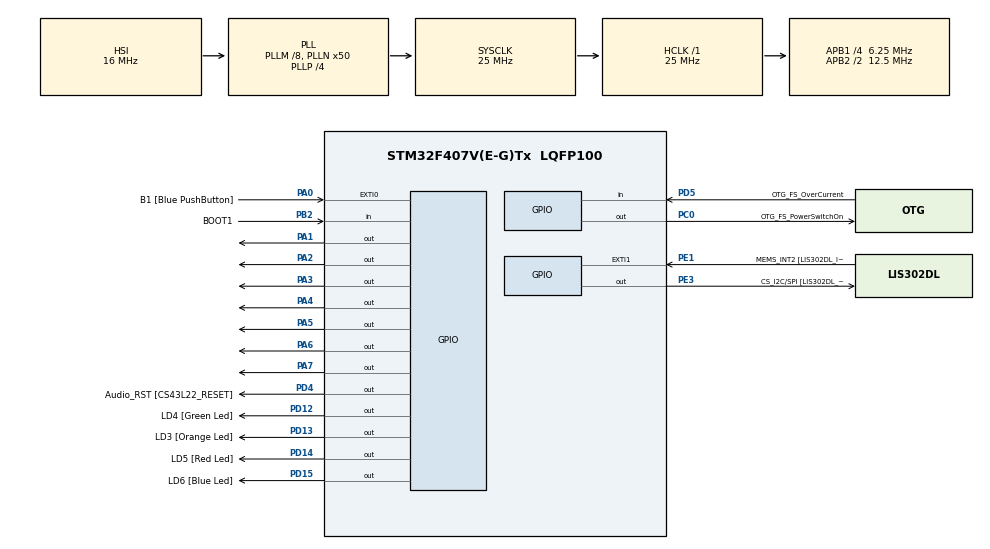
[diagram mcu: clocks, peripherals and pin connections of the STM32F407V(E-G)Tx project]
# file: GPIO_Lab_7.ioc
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Mcu.Family=STM32F4
Mcu.Name=STM32F407V(E-G)Tx
Mcu.Package=LQFP100
NVIC.PriorityGroup=NVIC_PRIORITYGROUP_0
PA0-WKUP.GPIO_Label=B1 [Blue PushButton]
PA0-WKUP.Signal=GPXTI0
PA1.GPIO_ModeDefaultOutputPP=GPIO_MODE_OUTPUT_PP
PA1.GPIO_PuPd=GPIO_PULLDOWN
PA1.GPIO_Speed=GPIO_SPEED_FREQ_LOW
PA1.PinState=GPIO_PIN_RESET
PA1.Signal=GPIO_Output
PA10.GPIO_Label=OTG_FS_ID
PA10.GPIO_Mode=GPIO_MODE_AF_PP
PA10.GPIO_PuPd=GPIO_NOPULL
PA10.GPIO_Speed=GPIO_SPEED_FREQ_LOW
PA10.Signal=USB_OTG_FS_ID
PA11.GPIO_Label=OTG_FS_DM
PA11.GPIO_Mode=GPIO_MODE_AF_PP
PA11.GPIO_PuPd=GPIO_NOPULL
PA11.GPIO_Speed=GPIO_SPEED_FREQ_LOW
PA11.Signal=USB_OTG_FS_DM
PA12.GPIO_Label=OTG_FS_DP
PA12.GPIO_Mode=GPIO_MODE_AF_PP
PA12.GPIO_PuPd=GPIO_NOPULL
PA12.GPIO_Speed=GPIO_SPEED_FREQ_LOW
PA12.Signal=USB_OTG_FS_DP
PA13.GPIO_Label=SWDIO
PA13.Mode=Serial_Wire
PA13.Signal=SYS_JTMS-SWDIO
PA14.GPIO_Label=SWCLK
PA14.Mode=Serial_Wire
PA14.Signal=SYS_JTCK-SWCLK
PA2.GPIO_ModeDefaultOutputPP=GPIO_MODE_OUTPUT_PP
PA2.GPIO_PuPd=GPIO_PULLDOWN
PA2.GPIO_Speed=GPIO_SPEED_FREQ_LOW
PA2.PinState=GPIO_PIN_RESET
PA2.Signal=GPIO_Output
PA3.GPIO_ModeDefaultOutputPP=GPIO_MODE_OUTPUT_PP
PA3.GPIO_PuPd=GPIO_PULLDOWN
PA3.GPIO_Speed=GPIO_SPEED_FREQ_LOW
PA3.PinState=GPIO_PIN_RESET
PA3.Signal=GPIO_Output
PA4.GPIO_ModeDefaultOutputPP=GPIO_MODE_OUTPUT_PP
PA4.GPIO_PuPd=GPIO_PULLDOWN
PA4.GPIO_Speed=GPIO_SPEED_FREQ_LOW
PA4.PinState=GPIO_PIN_RESET
PA4.Signal=GPIO_Output
PA5.GPIO_ModeDefaultOutputPP=GPIO_MODE_OUTPUT_PP
PA5.GPIO_PuPd=GPIO_PULLDOWN
PA5.GPIO_Speed=GPIO_SPEED_FREQ_LOW
PA5.PinState=GPIO_PIN_RESET
PA5.Signal=GPIO_Output
PA6.GPIO_ModeDefaultOutputPP=GPIO_MODE_OUTPUT_PP
PA6.GPIO_PuPd=GPIO_PULLDOWN
PA6.GPIO_Speed=GPIO_SPEED_FREQ_LOW
PA6.PinState=GPIO_PIN_RESET
PA6.Signal=GPIO_Output
PA7.GPIO_ModeDefaultOutputPP=GPIO_MODE_OUTPUT_PP
PA7.GPIO_PuPd=GPIO_PULLDOWN
PA7.GPIO_Speed=GPIO_SPEED_FREQ_LOW
PA7.PinState=GPIO_PIN_RESET
PA7.Signal=GPIO_Output
PA9.GPIO_Label=VBUS_FS
PA9.GPIO_Mode=GPIO_MODE_INPUT
PA9.GPIO_PuPd=GPIO_NOPULL
PA9.Signal=USB_OTG_FS_VBUS
PB10.GPIO_Label=CLK_IN [MP45DT02_CLK]
PB10.GPIO_Mode=GPIO_MODE_AF_PP
PB10.GPIO_PuPd=GPIO_NOPULL
PB10.GPIO_Speed=GPIO_SPEED_FREQ_LOW
PB10.Signal=I2S2_CK
PB2.GPIO_Label=BOOT1
PB2.GPIO_Mode=GPIO_MODE_INPUT
PB2.GPIO_PuPd=GPIO_NOPULL
PB2.Signal=GPIO_Input
PB3.GPIO_Label=SWO
PB3.Signal=SYS_JTDO-SWO
PB6.GPIO_Label=Audio_SCL [CS43L22_SCL]
PB6.GPIO_Mode=GPIO_MODE_AF_OD
PB6.GPIO_PuPd=GPIO_NOPULL
PB6.GPIO_Speed=GPIO_SPEED_FREQ_LOW
PB6.Signal=I2C1_SCL
PB9.GPIO_Label=Audio_SDA [CS43L22_SDA]
PB9.GPIO_Mode=GPIO_MODE_AF_OD
PB9.GPIO_PuPd=GPIO_NOPULL
PB9.GPIO_Speed=GPIO_SPEED_FREQ_LOW
PB9.Signal=I2C1_SDA
PC0.GPIO_Label=OTG_FS_PowerSwitchOn
PC0.GPIO_PuPd=GPIO_NOPULL
PC0.GPIO_Speed=GPIO_SPEED_FREQ_LOW
PC0.PinState=GPIO_PIN_SET
PC0.Signal=GPIO_Output
PC10.GPIO_Label=I2S3_SCK [CS43L22_SCLK]
PC10.GPIO_Mode=GPIO_MODE_AF_PP
PC10.GPIO_PuPd=GPIO_NOPULL
PC10.GPIO_Speed=GPIO_SPEED_FREQ_LOW
PC10.Signal=I2S3_CK
PC12.GPIO_Label=I2S3_SD [CS43L22_SDIN]
PC12.GPIO_Mode=GPIO_MODE_AF_PP
PC12.GPIO_PuPd=GPIO_NOPULL
PC12.GPIO_Speed=GPIO_SPEED_FREQ_LOW
PC12.Signal=I2S3_SD
PC14-OSC32_IN.GPIO_Label=PC14-OSC32_IN
PC14-OSC32_IN.Signal=RCC_OSC32_IN
PC15-OSC32_OUT.GPIO_Label=PC15-OSC32_OUT
PC15-OSC32_OUT.Signal=RCC_OSC32_OUT
PC3.GPIO_Label=PDM_OUT [MP45DT02_DOUT]
PC3.GPIO_Mode=GPIO_MODE_AF_PP
PC3.GPIO_PuPd=GPIO_NOPULL
PC3.GPIO_Speed=GPIO_SPEED_FREQ_LOW
PC3.Signal=I2S2_SD
PC7.GPIO_Label=I2S3_MCK [CS43L22_MCLK]
PC7.GPIO_Mode=GPIO_MODE_AF_PP
PC7.GPIO_PuPd=GPIO_NOPULL
PC7.GPIO_Speed=GPIO_SPEED_FREQ_LOW
PC7.Signal=I2S3_MCK
PD12.GPIO_Label=LD4 [Green Led]
PD12.GPIO_PuPd=GPIO_NOPULL
PD12.GPIO_Speed=GPIO_SPEED_FREQ_LOW
PD12.Signal=GPIO_Output
PD13.GPIO_Label=LD3 [Orange Led]
PD13.GPIO_PuPd=GPIO_NOPULL
PD13.GPIO_Speed=GPIO_SPEED_FREQ_LOW
PD13.Signal=GPIO_Output
PD14.GPIO_Label=LD5 [Red Led]
PD14.GPIO_PuPd=GPIO_NOPULL
PD14.GPIO_Speed=GPIO_SPEED_FREQ_LOW
PD14.Signal=GPIO_Output
PD15.GPIO_Label=LD6 [Blue Led]
PD15.GPIO_PuPd=GPIO_NOPULL
PD15.GPIO_Speed=GPIO_SPEED_FREQ_LOW
PD15.Signal=GPIO_Output
PD4.GPIO_Label=Audio_RST [CS43L22_RESET]
PD4.GPIO_PuPd=GPIO_NOPULL
PD4.GPIO_Speed=GPIO_SPEED_FREQ_LOW
PD4.Signal=GPIO_Output
PD5.GPIO_Label=OTG_FS_OverCurrent
PD5.GPIO_Mode=GPIO_MODE_INPUT
PD5.GPIO_PuPd=GPIO_NOPULL
PD5.Signal=GPIO_Input
PE1.GPIO_Label=MEMS_INT2 [LIS302DL_INT2]
PE1.GPIO_ModeDefaultEXTI=GPIO_MODE_EVT_RISING
PE1.GPIO_PuPd=GPIO_NOPULL
PE1.Signal=GPXTI1
PE3.GPIO_Label=CS_I2C/SPI [LIS302DL_CS_I2C/SPI]
PE3.GPIO_PuPd=GPIO_NOPULL
PE3.GPIO_Speed=GPIO_SPEED_FREQ_LOW
PE3.Signal=GPIO_Output
PH0-OSC_IN.GPIO_Label=PH0-OSC_IN
PH0-OSC_IN.Mode=HSE-External-Oscillator
PH0-OSC_IN.Signal=RCC_OSC_IN
PH1-OSC_OUT.GPIO_Label=PH1-OSC_OUT
PH1-OSC_OUT.Mode=HSE-External-Oscillator
PH1-OSC_OUT.Signal=RCC_OSC_OUT
ProjectManager.HeapSize=0x200
ProjectManager.StackSize=0x400
ProjectManager.TargetToolchain=STM32CubeIDE
RCC.48MHZClocksFreq_Value=14285714.285714285
RCC.AHBFreq_Value=25000000
RCC.APB1CLKDivider=RCC_HCLK_DIV4
RCC.APB1Freq_Value=6250000
RCC.APB1TimFreq_Value=12500000
RCC.APB2CLKDivider=RCC_HCLK_DIV2
RCC.APB2Freq_Value=12500000
RCC.APB2TimFreq_Value=25000000
RCC.CortexFreq_Value=25000000
RCC.HCLKFreq_Value=25000000
RCC.HSE_VALUE=8000000
RCC.HSI_VALUE=16000000
RCC.LSE_VALUE=32768
RCC.PLLM=8
RCC.PLLN=50
RCC.PLLP=RCC_PLLP_DIV4
RCC.PLLQ=7
RCC.SYSCLKFreq_VALUE=25000000
RCC.SYSCLKSource=RCC_SYSCLKSOURCE_PLLCLK
RCC.VCOOutputFreq_Value=100000000
board=STM32F407G-DISC1

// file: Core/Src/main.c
 /* USER CODE BEGIN Header */
/**
  ******************************************************************************
  * @file           : main.c
  * @brief          : Main program body
  ******************************************************************************
  * @attention
  *
  * Copyright (c) 2023 STMicroelectronics.
  * All rights reserved.
  *
  * This software is licensed under terms that can be found in the LICENSE file
  * in the root directory of this software component.
  * If no LICENSE file comes with this software, it is provided AS-IS.
  *
  ******************************************************************************
  */
/* USER CODE END Header */
#include "main.h"

void SystemClock_Config(void);
static void MX_GPIO_Init(void);

/* USER CODE BEGIN PFP */
void write_led_7_segment(__IO uint8_t number);
/* USER CODE END PFP */

int main(void)
{

  /* MCU Configuration--------------------------------------------------------*/

  /* Reset of all peripherals, Initializes the Flash interface and the Systick. */
  HAL_Init();

  /* Configure the system clock */
  SystemClock_Config();

  /* Initialize all configured peripherals */
  MX_GPIO_Init();

  /* Infinite loop */
  /* USER CODE BEGIN WHILE */
  while (1)
  {
	  for (int i=0; i<10; i++){
		  write_led_7_segment(i);
		  HAL_Delay(1000);
	  }
    /* USER CODE END WHILE */

  }
}

void SystemClock_Config(void)
{
  RCC_OscInitTypeDef RCC_OscInitStruct = {0};
  RCC_ClkInitTypeDef RCC_ClkInitStruct = {0};

  /** Configure the main internal regulator output voltage
  */
  __HAL_RCC_PWR_CLK_ENABLE();
  __HAL_PWR_VOLTAGESCALING_CONFIG(PWR_REGULATOR_VOLTAGE_SCALE1);

  /** Initializes the RCC Oscillators according to the specified parameters
  * in the RCC_OscInitTypeDef structure.
  */
  RCC_OscInitStruct.OscillatorType = RCC_OSCILLATORTYPE_HSI;
  RCC_OscInitStruct.HSIState = RCC_HSI_ON;
  RCC_OscInitStruct.HSICalibrationValue = RCC_HSICALIBRATION_DEFAULT;
  RCC_OscInitStruct.PLL.PLLState = RCC_PLL_ON;
  RCC_OscInitStruct.PLL.PLLSource = RCC_PLLSOURCE_HSI;
  RCC_OscInitStruct.PLL.PLLM = 8;
  RCC_OscInitStruct.PLL.PLLN = 50;
  RCC_OscInitStruct.PLL.PLLP = RCC_PLLP_DIV4;
  RCC_OscInitStruct.PLL.PLLQ = 7;
  if (HAL_RCC_OscConfig(&RCC_OscInitStruct) != HAL_OK)
  {
    Error_Handler();
  }

  /** Initializes the CPU, AHB and APB buses clocks
  */
  RCC_ClkInitStruct.ClockType = RCC_CLOCKTYPE_HCLK|RCC_CLOCKTYPE_SYSCLK
                              |RCC_CLOCKTYPE_PCLK1|RCC_CLOCKTYPE_PCLK2;
  RCC_ClkInitStruct.SYSCLKSource = RCC_SYSCLKSOURCE_PLLCLK;
  RCC_ClkInitStruct.AHBCLKDivider = RCC_SYSCLK_DIV1;
  RCC_ClkInitStruct.APB1CLKDivider = RCC_HCLK_DIV4;
  RCC_ClkInitStruct.APB2CLKDivider = RCC_HCLK_DIV2;

  if (HAL_RCC_ClockConfig(&RCC_ClkInitStruct, FLASH_LATENCY_0) != HAL_OK)
  {
    Error_Handler();
  }
}

static void MX_GPIO_Init(void)
{
  GPIO_InitTypeDef GPIO_InitStruct = {0};

  /* GPIO Ports Clock Enable */
  __HAL_RCC_GPIOE_CLK_ENABLE();
  __HAL_RCC_GPIOC_CLK_ENABLE();
  __HAL_RCC_GPIOH_CLK_ENABLE();
  __HAL_RCC_GPIOA_CLK_ENABLE();
  __HAL_RCC_GPIOB_CLK_ENABLE();
  __HAL_RCC_GPIOD_CLK_ENABLE();

  /*Configure GPIO pin Output Level */
  HAL_GPIO_WritePin(CS_I2C_SPI_GPIO_Port, CS_I2C_SPI_Pin, GPIO_PIN_RESET);

  /*Configure GPIO pin Output Level */
  HAL_GPIO_WritePin(OTG_FS_PowerSwitchOn_GPIO_Port, OTG_FS_PowerSwitchOn_Pin, GPIO_PIN_SET);

  /*Configure GPIO pin Output Level */
  HAL_GPIO_WritePin(GPIOA, GPIO_PIN_1|GPIO_PIN_2|GPIO_PIN_3|GPIO_PIN_4
                          |GPIO_PIN_5|GPIO_PIN_6|GPIO_PIN_7, GPIO_PIN_RESET);

  /*Configure GPIO pin Output Level */
  HAL_GPIO_WritePin(GPIOD, LD4_Pin|LD3_Pin|LD5_Pin|LD6_Pin
                          |Audio_RST_Pin, GPIO_PIN_RESET);

  /*Configure GPIO pin : CS_I2C_SPI_Pin */
  GPIO_InitStruct.Pin = CS_I2C_SPI_Pin;
  GPIO_InitStruct.Mode = GPIO_MODE_OUTPUT_PP;
  GPIO_InitStruct.Pull = GPIO_NOPULL;
  GPIO_InitStruct.Speed = GPIO_SPEED_FREQ_LOW;
  HAL_GPIO_Init(CS_I2C_SPI_GPIO_Port, &GPIO_InitStruct);

  /*Configure GPIO pin : OTG_FS_PowerSwitchOn_Pin */
  GPIO_InitStruct.Pin = OTG_FS_PowerSwitchOn_Pin;
  GPIO_InitStruct.Mode = GPIO_MODE_OUTPUT_PP;
  GPIO_InitStruct.Pull = GPIO_NOPULL;
  GPIO_InitStruct.Speed = GPIO_SPEED_FREQ_LOW;
  HAL_GPIO_Init(OTG_FS_PowerSwitchOn_GPIO_Port, &GPIO_InitStruct);

  /*Configure GPIO pin : PDM_OUT_Pin */
  GPIO_InitStruct.Pin = PDM_OUT_Pin;
  GPIO_InitStruct.Mode = GPIO_MODE_AF_PP;
  GPIO_InitStruct.Pull = GPIO_NOPULL;
  GPIO_InitStruct.Speed = GPIO_SPEED_FREQ_LOW;
  GPIO_InitStruct.Alternate = GPIO_AF5_SPI2;
  HAL_GPIO_Init(PDM_OUT_GPIO_Port, &GPIO_InitStruct);

  /*Configure GPIO pin : B1_Pin */
  GPIO_InitStruct.Pin = B1_Pin;
  GPIO_InitStruct.Mode = GPIO_MODE_IT_RISING;
  GPIO_InitStruct.Pull = GPIO_NOPULL;
  HAL_GPIO_Init(B1_GPIO_Port, &GPIO_InitStruct);

  /*Configure GPIO pins : PA1 PA2 PA3 PA4
                           PA5 PA6 PA7 */
  GPIO_InitStruct.Pin = GPIO_PIN_1|GPIO_PIN_2|GPIO_PIN_3|GPIO_PIN_4
                          |GPIO_PIN_5|GPIO_PIN_6|GPIO_PIN_7;
  GPIO_InitStruct.Mode = GPIO_MODE_OUTPUT_PP;
  GPIO_InitStruct.Pull = GPIO_PULLDOWN;
  GPIO_InitStruct.Speed = GPIO_SPEED_FREQ_LOW;
  HAL_GPIO_Init(GPIOA, &GPIO_InitStruct);

  /*Configure GPIO pin : BOOT1_Pin */
  GPIO_InitStruct.Pin = BOOT1_Pin;
  GPIO_InitStruct.Mode = GPIO_MODE_INPUT;
  GPIO_InitStruct.Pull = GPIO_NOPULL;
  HAL_GPIO_Init(BOOT1_GPIO_Port, &GPIO_InitStruct);

  /*Configure GPIO pin : CLK_IN_Pin */
  GPIO_InitStruct.Pin = CLK_IN_Pin;
  GPIO_InitStruct.Mode = GPIO_MODE_AF_PP;
  GPIO_InitStruct.Pull = GPIO_NOPULL;
  GPIO_InitStruct.Speed = GPIO_SPEED_FREQ_LOW;
  GPIO_InitStruct.Alternate = GPIO_AF5_SPI2;
  HAL_GPIO_Init(CLK_IN_GPIO_Port, &GPIO_InitStruct);

  /*Configure GPIO pins : LD4_Pin LD3_Pin LD5_Pin LD6_Pin
                           Audio_RST_Pin */
  GPIO_InitStruct.Pin = LD4_Pin|LD3_Pin|LD5_Pin|LD6_Pin
                          |Audio_RST_Pin;
  GPIO_InitStruct.Mode = GPIO_MODE_OUTPUT_PP;
  GPIO_InitStruct.Pull = GPIO_NOPULL;
  GPIO_InitStruct.Speed = GPIO_SPEED_FREQ_LOW;
  HAL_GPIO_Init(GPIOD, &GPIO_InitStruct);

  /*Configure GPIO pins : I2S3_MCK_Pin I2S3_SCK_Pin I2S3_SD_Pin */
  GPIO_InitStruct.Pin = I2S3_MCK_Pin|I2S3_SCK_Pin|I2S3_SD_Pin;
  GPIO_InitStruct.Mode = GPIO_MODE_AF_PP;
  GPIO_InitStruct.Pull = GPIO_NOPULL;
  GPIO_InitStruct.Speed = GPIO_SPEED_FREQ_LOW;
  GPIO_InitStruct.Alternate = GPIO_AF6_SPI3;
  HAL_GPIO_Init(GPIOC, &GPIO_InitStruct);

  /*Configure GPIO pin : VBUS_FS_Pin */
  GPIO_InitStruct.Pin = VBUS_FS_Pin;
  GPIO_InitStruct.Mode = GPIO_MODE_INPUT;
  GPIO_InitStruct.Pull = GPIO_NOPULL;
  HAL_GPIO_Init(VBUS_FS_GPIO_Port, &GPIO_InitStruct);

  /*Configure GPIO pins : OTG_FS_ID_Pin OTG_FS_DM_Pin OTG_FS_DP_Pin */
  GPIO_InitStruct.Pin = OTG_FS_ID_Pin|OTG_FS_DM_Pin|OTG_FS_DP_Pin;
  GPIO_InitStruct.Mode = GPIO_MODE_AF_PP;
  GPIO_InitStruct.Pull = GPIO_NOPULL;
  GPIO_InitStruct.Speed = GPIO_SPEED_FREQ_LOW;
  GPIO_InitStruct.Alternate = GPIO_AF10_OTG_FS;
  HAL_GPIO_Init(GPIOA, &GPIO_InitStruct);

  /*Configure GPIO pin : OTG_FS_OverCurrent_Pin */
  GPIO_InitStruct.Pin = OTG_FS_OverCurrent_Pin;
  GPIO_InitStruct.Mode = GPIO_MODE_INPUT;
  GPIO_InitStruct.Pull = GPIO_NOPULL;
  HAL_GPIO_Init(OTG_FS_OverCurrent_GPIO_Port, &GPIO_InitStruct);

  /*Configure GPIO pins : Audio_SCL_Pin Audio_SDA_Pin */
  GPIO_InitStruct.Pin = Audio_SCL_Pin|Audio_SDA_Pin;
  GPIO_InitStruct.Mode = GPIO_MODE_AF_OD;
  GPIO_InitStruct.Pull = GPIO_NOPULL;
  GPIO_InitStruct.Speed = GPIO_SPEED_FREQ_LOW;
  GPIO_InitStruct.Alternate = GPIO_AF4_I2C1;
  HAL_GPIO_Init(GPIOB, &GPIO_InitStruct);

  /*Configure GPIO pin : MEMS_INT2_Pin */
  GPIO_InitStruct.Pin = MEMS_INT2_Pin;
  GPIO_InitStruct.Mode = GPIO_MODE_EVT_RISING;
  GPIO_InitStruct.Pull = GPIO_NOPULL;
  HAL_GPIO_Init(MEMS_INT2_GPIO_Port, &GPIO_InitStruct);

}

/* USER CODE BEGIN 4 */
void write_led_7_segment(uint8_t number){
	if (number==0) {
		HAL_GPIO_WritePin(GPIOA, GPIO_PIN_1, GPIO_PIN_SET); //seg a
		HAL_GPIO_WritePin(GPIOA, GPIO_PIN_2, GPIO_PIN_SET); //seg b
		HAL_GPIO_WritePin(GPIOA, GPIO_PIN_3, GPIO_PIN_SET); //seg c
		HAL_GPIO_WritePin(GPIOA, GPIO_PIN_4, GPIO_PIN_SET); //seg d
		HAL_GPIO_WritePin(GPIOA, GPIO_PIN_5, GPIO_PIN_SET); //seg e
		HAL_GPIO_WritePin(GPIOA, GPIO_PIN_6, GPIO_PIN_SET); //seg f
		HAL_GPIO_WritePin(GPIOA, GPIO_PIN_7, GPIO_PIN_RESET); //seg g
	}
	else if (number==1) {
		HAL_GPIO_WritePin(GPIOA, GPIO_PIN_1, GPIO_PIN_RESET); //seg a
		HAL_GPIO_WritePin(GPIOA, GPIO_PIN_2, GPIO_PIN_SET); //seg b
		HAL_GPIO_WritePin(GPIOA, GPIO_PIN_3, GPIO_PIN_SET); //seg c
		HAL_GPIO_WritePin(GPIOA, GPIO_PIN_4, GPIO_PIN_RESET); //seg d
		HAL_GPIO_WritePin(GPIOA, GPIO_PIN_5, GPIO_PIN_RESET); //seg e
		HAL_GPIO_WritePin(GPIOA, GPIO_PIN_6, GPIO_PIN_RESET); //seg f
		HAL_GPIO_WritePin(GPIOA, GPIO_PIN_7, GPIO_PIN_RESET); //seg g
	}
	else if (number==2) {
		HAL_GPIO_WritePin(GPIOA, GPIO_PIN_1, GPIO_PIN_SET); //seg a
		HAL_GPIO_WritePin(GPIOA, GPIO_PIN_2, GPIO_PIN_SET); //seg b
		HAL_GPIO_WritePin(GPIOA, GPIO_PIN_3, GPIO_PIN_RESET); //seg c
		HAL_GPIO_WritePin(GPIOA, GPIO_PIN_4, GPIO_PIN_SET); //seg d
		HAL_GPIO_WritePin(GPIOA, GPIO_PIN_5, GPIO_PIN_SET); //seg e
		HAL_GPIO_WritePin(GPIOA, GPIO_PIN_6, GPIO_PIN_RESET); //seg f
		HAL_GPIO_WritePin(GPIOA, GPIO_PIN_7, GPIO_PIN_SET); //seg g

	}
	else if (number==3) {
		HAL_GPIO_WritePin(GPIOA, GPIO_PIN_1, GPIO_PIN_SET); //seg a
		HAL_GPIO_WritePin(GPIOA, GPIO_PIN_2, GPIO_PIN_SET); //seg b
		HAL_GPIO_WritePin(GPIOA, GPIO_PIN_3, GPIO_PIN_SET); //seg c
		HAL_GPIO_WritePin(GPIOA, GPIO_PIN_4, GPIO_PIN_SET); //seg d
		HAL_GPIO_WritePin(GPIOA, GPIO_PIN_5, GPIO_PIN_RESET); //seg e
		HAL_GPIO_WritePin(GPIOA, GPIO_PIN_6, GPIO_PIN_RESET); //seg f
		HAL_GPIO_WritePin(GPIOA, GPIO_PIN_7, GPIO_PIN_SET); //seg g
		}
	else if (number==4) {
		HAL_GPIO_WritePin(GPIOA, GPIO_PIN_1, GPIO_PIN_RESET); //seg a
		HAL_GPIO_WritePin(GPIOA, GPIO_PIN_2, GPIO_PIN_SET); //seg b
		HAL_GPIO_WritePin(GPIOA, GPIO_PIN_3, GPIO_PIN_SET); //seg c
		HAL_GPIO_WritePin(GPIOA, GPIO_PIN_4, GPIO_PIN_RESET); //seg d
		HAL_GPIO_WritePin(GPIOA, GPIO_PIN_5, GPIO_PIN_RESET); //seg e
		HAL_GPIO_WritePin(GPIOA, GPIO_PIN_6, GPIO_PIN_SET); //seg f
		HAL_GPIO_WritePin(GPIOA, GPIO_PIN_7, GPIO_PIN_SET); //seg g

		}
	else if (number==5) {
		HAL_GPIO_WritePin(GPIOA, GPIO_PIN_1, GPIO_PIN_SET); //seg a
		HAL_GPIO_WritePin(GPIOA, GPIO_PIN_2, GPIO_PIN_RESET); //seg b
		HAL_GPIO_WritePin(GPIOA, GPIO_PIN_3, GPIO_PIN_SET); //seg c
		HAL_GPIO_WritePin(GPIOA, GPIO_PIN_4, GPIO_PIN_SET); //seg d
		HAL_GPIO_WritePin(GPIOA, GPIO_PIN_5, GPIO_PIN_RESET); //seg e
		HAL_GPIO_WritePin(GPIOA, GPIO_PIN_6, GPIO_PIN_SET); //seg f
		HAL_GPIO_WritePin(GPIOA, GPIO_PIN_7, GPIO_PIN_SET); //seg g
		}
	else if (number==6) {
		HAL_GPIO_WritePin(GPIOA, GPIO_PIN_1, GPIO_PIN_RESET); //seg a
		HAL_GPIO_WritePin(GPIOA, GPIO_PIN_2, GPIO_PIN_RESET); //seg b
		HAL_GPIO_WritePin(GPIOA, GPIO_PIN_3, GPIO_PIN_SET); //seg c
		HAL_GPIO_WritePin(GPIOA, GPIO_PIN_4, GPIO_PIN_RESET); //seg d
		HAL_GPIO_WritePin(GPIOA, GPIO_PIN_5, GPIO_PIN_SET); //seg e
		HAL_GPIO_WritePin(GPIOA, GPIO_PIN_6, GPIO_PIN_SET); //seg f
		HAL_GPIO_WritePin(GPIOA, GPIO_PIN_7, GPIO_PIN_SET); //seg g

		}
	else if (number==7) {
		HAL_GPIO_WritePin(GPIOA, GPIO_PIN_1, GPIO_PIN_SET); //seg a
		HAL_GPIO_WritePin(GPIOA, GPIO_PIN_2, GPIO_PIN_SET); //seg b
		HAL_GPIO_WritePin(GPIOA, GPIO_PIN_3, GPIO_PIN_SET); //seg c
		HAL_GPIO_WritePin(GPIOA, GPIO_PIN_4, GPIO_PIN_RESET); //seg d
		HAL_GPIO_WritePin(GPIOA, GPIO_PIN_5, GPIO_PIN_RESET); //seg e
		HAL_GPIO_WritePin(GPIOA, GPIO_PIN_6, GPIO_PIN_RESET); //seg f
		HAL_GPIO_WritePin(GPIOA, GPIO_PIN_7, GPIO_PIN_RESET); //seg g
		}
	else if (number==8) {
		HAL_GPIO_WritePin(GPIOA, GPIO_PIN_1, GPIO_PIN_SET); //seg a
		HAL_GPIO_WritePin(GPIOA, GPIO_PIN_2, GPIO_PIN_SET); //seg b
		HAL_GPIO_WritePin(GPIOA, GPIO_PIN_3, GPIO_PIN_SET); //seg c
		HAL_GPIO_WritePin(GPIOA, GPIO_PIN_4, GPIO_PIN_SET); //seg d
		HAL_GPIO_WritePin(GPIOA, GPIO_PIN_5, GPIO_PIN_SET); //seg e
		HAL_GPIO_WritePin(GPIOA, GPIO_PIN_6, GPIO_PIN_SET); //seg f
		HAL_GPIO_WritePin(GPIOA, GPIO_PIN_7, GPIO_PIN_SET); //seg g

		}
	else if (number==9) {
		HAL_GPIO_WritePin(GPIOA, GPIO_PIN_1, GPIO_PIN_SET); //seg a
		HAL_GPIO_WritePin(GPIOA, GPIO_PIN_2, GPIO_PIN_SET); //seg b
		HAL_GPIO_WritePin(GPIOA, GPIO_PIN_3, GPIO_PIN_SET); //seg c
		HAL_GPIO_WritePin(GPIOA, GPIO_PIN_4, GPIO_PIN_RESET); //seg d
		HAL_GPIO_WritePin(GPIOA, GPIO_PIN_5, GPIO_PIN_RESET); //seg e
		HAL_GPIO_WritePin(GPIOA, GPIO_PIN_6, GPIO_PIN_SET); //seg f
		HAL_GPIO_WritePin(GPIOA, GPIO_PIN_7, GPIO_PIN_SET); //seg g

		}

}
/* USER CODE END 4 */

void Error_Handler(void)
{
  __disable_irq();
  while (1)
  {
  }
}
